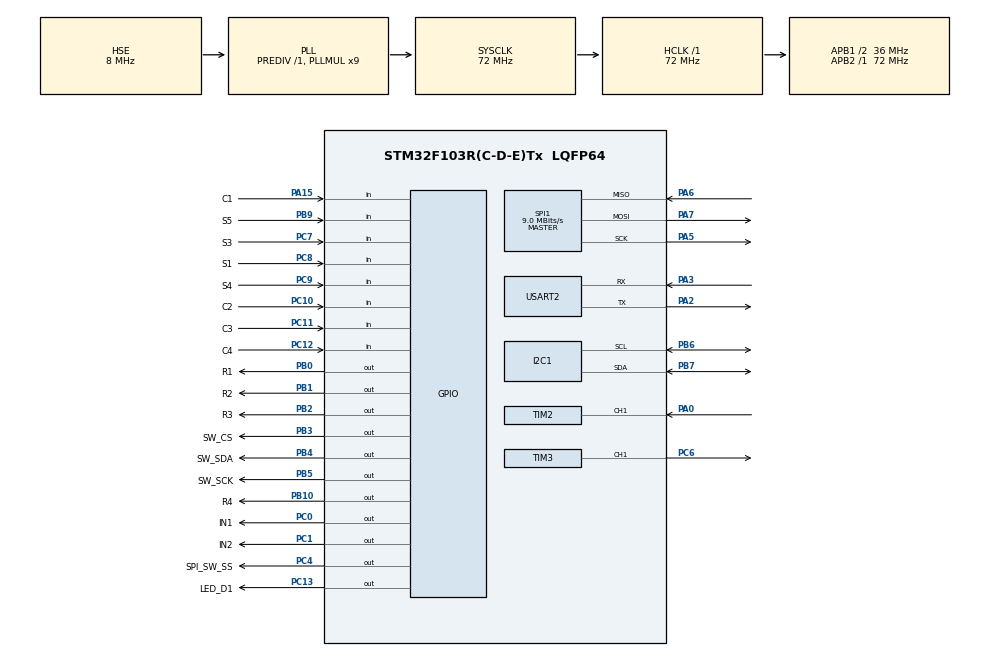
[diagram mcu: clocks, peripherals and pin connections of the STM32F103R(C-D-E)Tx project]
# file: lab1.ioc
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Mcu.Family=STM32F1
Mcu.Name=STM32F103R(C-D-E)Tx
Mcu.Package=LQFP64
NVIC.PriorityGroup=NVIC_PRIORITYGROUP_4
NVIC.TIM2_IRQn=true\:1\:0\:true\:false\:true\:true\:true\:true
NVIC.TIM3_IRQn=true\:0\:0\:false\:false\:true\:true\:true\:true
NVIC.TIM4_IRQn=true\:0\:0\:false\:false\:true\:true\:true\:true
NVIC.TIM5_IRQn=true\:0\:0\:false\:false\:true\:true\:true\:true
NVIC.USART2_IRQn=true\:2\:0\:true\:false\:true\:true\:true\:true
PA0-WKUP.Signal=S_TIM2_CH1_ETR
PA13.Mode=Serial_Wire
PA13.Signal=SYS_JTMS-SWDIO
PA14.Mode=Serial_Wire
PA14.Signal=SYS_JTCK-SWCLK
PA15.GPIO_Label=C1
PA15.Signal=GPIO_Input
PA2.Mode=Asynchronous
PA2.Signal=USART2_TX
PA3.Mode=Asynchronous
PA3.Signal=USART2_RX
PA5.Mode=Full_Duplex_Master
PA5.Signal=SPI1_SCK
PA6.Mode=Full_Duplex_Master
PA6.Signal=SPI1_MISO
PA7.Mode=Full_Duplex_Master
PA7.Signal=SPI1_MOSI
PB0.GPIO_Label=R1
PB0.Signal=GPIO_Output
PB1.GPIO_Label=R2
PB1.Signal=GPIO_Output
PB10.GPIO_Label=R4
PB10.Signal=GPIO_Output
PB2.GPIO_Label=R3
PB2.Signal=GPIO_Output
PB3.GPIO_Label=SW_CS
PB3.Signal=GPIO_Output
PB4.GPIO_Label=SW_SDA
PB4.Signal=GPIO_Output
PB5.GPIO_Label=SW_SCK
PB5.Signal=GPIO_Output
PB6.Mode=I2C
PB6.Signal=I2C1_SCL
PB7.Mode=I2C
PB7.Signal=I2C1_SDA
PB9.GPIO_Label=S5
PB9.Signal=GPIO_Input
PC0.GPIO_Label=IN1
PC0.Signal=GPIO_Output
PC1.GPIO_Label=IN2
PC1.Signal=GPIO_Output
PC10.GPIO_Label=C2
PC10.Signal=GPIO_Input
PC11.GPIO_Label=C3
PC11.Signal=GPIO_Input
PC12.GPIO_Label=C4
PC12.Signal=GPIO_Input
PC13-TAMPER-RTC.GPIO_Label=LED_D1
PC13-TAMPER-RTC.Signal=GPIO_Output
PC4.GPIO_Label=SPI_SW_SS
PC4.Signal=GPIO_Output
PC6.Signal=S_TIM3_CH1
PC7.GPIO_Label=S3
PC7.Signal=GPIO_Input
PC8.GPIO_Label=S1
PC8.Signal=GPIO_Input
PC9.GPIO_Label=S4
PC9.Signal=GPIO_Input
PD0-OSC_IN.Mode=HSE-External-Oscillator
PD0-OSC_IN.Signal=RCC_OSC_IN
PD1-OSC_OUT.Mode=HSE-External-Oscillator
PD1-OSC_OUT.Signal=RCC_OSC_OUT
ProjectManager.HeapSize=0x200
ProjectManager.StackSize=0x400
ProjectManager.TargetToolchain=MDK-ARM V5.32
RCC.ADCPresc=RCC_ADCPCLK2_DIV6
RCC.AHBFreq_Value=72000000
RCC.APB1CLKDivider=RCC_HCLK_DIV2
RCC.APB1Freq_Value=36000000
RCC.APB1TimFreq_Value=72000000
RCC.APB2Freq_Value=72000000
RCC.APB2TimFreq_Value=72000000
RCC.HCLKFreq_Value=72000000
RCC.PLLMUL=RCC_PLL_MUL9
RCC.PLLSourceVirtual=RCC_PLLSOURCE_HSE
RCC.SYSCLKFreq_VALUE=72000000
RCC.SYSCLKSource=RCC_SYSCLKSOURCE_PLLCLK
RCC.USBFreq_Value=72000000
SH.S_TIM2_CH1_ETR.0=TIM2_CH1,Input_Capture1_from_TI1
SH.S_TIM3_CH1.0=TIM3_CH1,PWM Generation1 CH1
SPI1.BaudRatePrescaler=SPI_BAUDRATEPRESCALER_8
SPI1.CalculateBaudRate=9.0 MBits/s
SPI1.Direction=SPI_DIRECTION_2LINES
SPI1.Mode=SPI_MODE_MASTER
SPI1.VirtualType=VM_MASTER
TIM2.Channel-Input_Capture1_from_TI1=TIM_CHANNEL_1
TIM2.Period=65535
TIM2.Prescaler=71
TIM3.Channel-PWM\ Generation1\ CH1=TIM_CHANNEL_1
TIM3.Period=999
TIM3.Prescaler=71
TIM4.Period=100
TIM4.Prescaler=7200
TIM5.Period=720
TIM5.Prescaler=10000
USART2.VirtualMode=VM_ASYNC
VP_TIM2_VS_ClockSourceINT.Mode=Internal
VP_TIM3_VS_ClockSourceINT.Mode=Internal
VP_TIM4_VS_ClockSourceINT.Mode=Internal
VP_TIM5_VS_ClockSourceINT.Mode=Internal
board=custom

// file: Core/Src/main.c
/* USER CODE BEGIN Header */
/**
 ******************************************************************************
 * @file           : main.c
 * @brief          : Main program body
 ******************************************************************************
 * @attention
 *
 * Copyright (c) 2025 STMicroelectronics.
 * All rights reserved.
 *
 * This software is licensed under terms that can be found in the LICENSE file
 * in the root directory of this software component.
 * If no LICENSE file comes with this software, it is provided AS-IS.
 *
 ******************************************************************************
 */
/* USER CODE END Header */
#include "main.h"
#include "i2c.h"
#include "spi.h"
#include "tim.h"
#include "usart.h"
#include "gpio.h"

/* USER CODE BEGIN Includes */
#include "LED.h"
#include "sw_lcd.h"
#include "spi_lcd.h"
#include "i2c_oled.h"
#include "595driver.h"
#include "key.h"
#include "sw_keyboard.h"
#include "timer.h"
#include "tm1650.h"
#include <string.h>
#include <stdio.h>
#include <stdlib.h>
/* USER CODE END Includes */

/* USER CODE BEGIN PD */
#define lab4
/* USER CODE END PD */

/* USER CODE BEGIN PV */
int key_current;
int key_history;
int s4_status = 0;
int s5_status = 0;
int clear_bits[5] = {0, 0, 0, 0, 0};
int lcd_flag = 0;
uint16_t ADC_value = 0;
float ADC_Value_float = 0;
char *name_key = "YangHaoTian Key3 pressed\n"; // 27
char *number_key = "20221689 Key6 pressed\n";  // 23
char ADC_str[64] = "hello world\n";            // 64;
uint8_t uartRxBuffer[10];
uint8_t uartTxBuffer[128];
uint8_t ledStatus = 0;      // LED状态：0-关闭，1-打开，2-闪烁
uint8_t flashFrequency = 1; // 闪烁频率，默认1Hz
uint16_t rxIndex = 0;       // 接收索引
uint8_t uartRxChar;         // 单字符接收缓冲区
int PWM_pulse = 100;        // PWM占空比，初始值10%
int Moter_direction = 0;    // 电机方向，0-正转，1-反转，2-停止

volatile uint32_t IC_Val1 = 0;                  // 保存第一次捕获值
volatile uint32_t IC_Val2 = 0;                  // 保存第二次捕获值
volatile uint32_t Difference = 0;               // 保存两次捕获的差值 (计数值)
volatile uint8_t Is_First_Captured = 0;         // 状态标志，0表示等待第一次捕获，1表示等待第二次捕获
volatile float Frequency = 0.0f;                // 计算得到的频率 (Hz)
volatile float RPM = 0.0f;                      // 计算得到的转速 (RPM)
const uint32_t Timer_ARR = 65535;               // TIM2的ARR值 (根据配置修改)
const float Timer_Clock_Frequency = 1000000.0f; // 定时器计数频率 (Hz), 根据PSC和时钟源计算得到
                                                // 例如 72MHz / (71+1) = 1MHz
const float Pulses_Per_Revolution = 10.0f;      // 每转脉冲数 (根据实际传感器修改)
int Set_RPM = 0;                                // 设置的转速 (RPM) 使用PID来维持在这个转速

// PID Controler Variables
float Kp = 2.0;  // 比例增益 (需要根据实际情况调整)
float Ki = 0.2f; // 积分增益 (需要根据实际情况调整)
float Kd = 0.1f; // 微分增益 (需要根据实际情况调整)

float pid_error = 0.0f;
float pid_previous_error = 0.0f;
float pid_integral = 0.0f;
float pid_derivative = 0.0f;
float pid_output = 0.0f;
float pid_prev_prev_error = 0.0f; // 上上次误差 e(k-2)  <--- 新增变量

// PID 输出限制 (例如PWM占空比范围, 假设htim3的ARR为999，则最大值为999)
// 您需要根据htim3的实际ARR值来设置PID_OUTPUT_MAX
const float PID_OUTPUT_MIN = 0.0f;
const float PID_OUTPUT_MAX = 999.0f; // 重要: 请根据htim3的ARR值修改
const float INTEGRAL_MIN = -500.0f;  // 积分项抗饱和下限 (需要调整)
const float INTEGRAL_MAX = 500.0f;   // 积分项抗饱和上限 (需要调整)

char rpm_input_buffer[5];     // 用于存储最多4位数字 + 空终止符
uint8_t rpm_digit_count = 0;  // 当前输入的RPM数字位数
uint8_t rpm_input_active = 0; // 0: 非RPM输入模式, 1: RPM输入模式

// extern int LED_status;
/* USER CODE END PV */

void SystemClock_Config(void);

/* USER CODE BEGIN 0 */
void Update_PID_Controller(void)
{
  // 1. 计算当前误差 e(k)
  // RPM 是由 HAL_TIM_IC_CaptureCallback 中断更新的当前电机转速
  pid_error = (float)Set_RPM - RPM; // pid_error 充当 e(k)

  // 2. 计算增量 delta_pid_output = Δu(k)
  // Δu(k) = Kp * [e(k) - e(k-1)] + Ki * e(k) + Kd * [e(k) - 2*e(k-1) + e(k-2)]
  float delta_pid_output = Kp * (pid_error - pid_previous_error) + \
                           Ki * pid_error + \
                           Kd * (pid_error - 2.0f * pid_previous_error + pid_prev_prev_error);

  // 3. 更新总输出 U(k) = U(k-1) + Δu(k)
  // pid_output 在这里代表 U(k-1)，然后更新为 U(k)
  pid_output += delta_pid_output;

  // 4. 限制PID总输出在有效范围内
  if (pid_output > PID_OUTPUT_MAX)
  {
    pid_output = PID_OUTPUT_MAX;
  }
  else if (pid_output < PID_OUTPUT_MIN)
  {
    pid_output = PID_OUTPUT_MIN;
  }

  // 5. 更新历史误差，为下一次计算做准备
  // e(k-2) = e(k-1)
  pid_prev_prev_error = pid_previous_error;
  // e(k-1) = e(k)
  pid_previous_error = pid_error;

  // 6. 将PID输出应用到电机PWM控制
  if (Set_RPM > 0) // 只有在目标转速大于0时才更新PWM
  {
    __HAL_TIM_SetCompare(&htim3, TIM_CHANNEL_1, (uint16_t)pid_output);
  }
  else // 如果目标转速为0，则停止电机 (PWM设为0)
  {
    __HAL_TIM_SetCompare(&htim3, TIM_CHANNEL_1, 0);
    pid_output = 0.0f; // 重置PID累积输出
    // 重置历史误差，防止下次启动时因旧的误差值导致delta_pid_output过大
    pid_previous_error = 0.0f;
    pid_prev_prev_error = 0.0f;
    // pid_error 此时也应接近0 (如果RPM也为0)
  }
}
/* USER CODE END 0 */

int main(void)
{

  /* USER CODE BEGIN 1 */
  LED_status = 1;
  /* USER CODE END 1 */

  /* MCU Configuration--------------------------------------------------------*/

  /* Reset of all peripherals, Initializes the Flash interface and the Systick. */
  HAL_Init();

  /* Configure the system clock */
  SystemClock_Config();

  /* Initialize all configured peripherals */
  MX_GPIO_Init();
  MX_SPI1_Init();
  MX_TIM2_Init();
  MX_TIM5_Init();
  MX_TIM3_Init();
  MX_I2C1_Init();
  MX_USART2_UART_Init();
  MX_TIM4_Init();
  /* USER CODE BEGIN 2 */
  HAL_TIM_Base_Start_IT(&htim4);                                    // 开启定时器中断
  HAL_TIM_Base_Start_IT(&htim3);                                    // 开启定时器中断
  HAL_TIM_Base_Start_IT(&htim2);                                    // 开启定时器中断
  HAL_TIM_IC_Start_IT(&htim2, TIM_CHANNEL_1);                       // 开启输入捕获中断
  HAL_TIM_PWM_Start(&htim3, TIM_CHANNEL_1);                         // 开启PWM输出
  HAL_UART_Receive_IT(&huart2, uartRxBuffer, sizeof(uartRxBuffer)); // 开启串口接收中断
  LCE_init();
  HAL_GPIO_WritePin(GPIOC, GPIO_PIN_13, 0); // led
  OLED_Init();
  OLED_CLS();
  rpm_input_buffer[0] = '\0'; // 初始化RPM输入缓冲区
  // OLED_LAB_DISP_name();   //display name & number
  /* USER CODE END 2 */

  /* Infinite loop */
  /* USER CODE BEGIN WHILE */
  while (1)
  {
    if (scan_KeyBoard())
    {
      if (rpm_input_active)
      {
        // 当前处于RPM输入模式
        if (curr_key >= '0' && curr_key <= '9' && rpm_digit_count < 4)
        {
          rpm_input_buffer[rpm_digit_count++] = curr_key;
          rpm_input_buffer[rpm_digit_count] = '\0'; // 保持字符串以空终止
          // 可选: 在OLED上显示当前输入的数字
          // OLED_ShowString(0, 30, (uint8_t*)"RPM:       "); // 清除旧内容
        }
        else if (curr_key == 'E') // 假设 'E' (物理按键15) 是确认键
        {
          if (rpm_digit_count > 0) // 确保至少输入了一位数字
          {
            Set_RPM = atoi(rpm_input_buffer);
            if(Set_RPM < 1000)
            {
              Set_RPM = 2000;
            }
            // 可选: 串口或OLED提示设置成功
            sprintf((char *)uartTxBuffer, "Keyboard Set_RPM: %d\r\n", Set_RPM);
            HAL_UART_Transmit(&huart2, uartTxBuffer, strlen((char *)uartTxBuffer), 100);
            // OLED_ShowString(0, 40, (uint8_t*)"RPM Set!    ");
          }
          rpm_input_active = 0; // 退出RPM输入模式
          rpm_digit_count = 0;
          rpm_input_buffer[0] = '\0'; // 清空缓冲区
          // OLED_ShowString(0, 30, (uint8_t*)"            "); // 清除RPM输入提示
        }
        else if (curr_key == 'F') // 假设 'F' (物理按键16) 是取消键
        {
          rpm_input_active = 0; // 退出RPM输入模式
          rpm_digit_count = 0;
          rpm_input_buffer[0] = '\0'; // 清空缓冲区
          // 可选: 串口或OLED提示取消
          // OLED_ShowString(0, 30, (uint8_t*)"Cancelled   ");
          // OLED_ShowString(0, 40, (uint8_t*)"            ");
        }
        // 在RPM输入模式下，可以忽略其他按键，或添加特定处理
      }
      else
      {
        if (curr_key == '0')
        {
          // 正转
          Change_motor_direction(0);
          Moter_direction = 0;
        }
        if (curr_key == '4')
        {
          // 反转
          Change_motor_direction(1);
          Moter_direction = 1;
        }
        if (curr_key == '8')
        {
          // 停止
          Change_motor_direction(2);
          Moter_direction = 2;
        }
        if (curr_key == '5')
        {
          // 加速
          Moteor_Speed_change(1);
        }
        if (curr_key == '9')
        {
          // 加速
          Moteor_Speed_change(1);
        }
        if (curr_key == '6')
        {
          // 减速
          Moteor_Speed_change(2);
        }
        if (curr_key == 'A')
        {
          // 减速
          Moteor_Speed_change(2);
        }
        if (curr_key == 'F')
        {
          rpm_input_active = 1; // 进入RPM输入模式
          rpm_digit_count = 0;  // 重置数字计数
        }
      }
    }
    //    LCD_Display_Lab(); //LCD display ADC value
    OLED_LAB_DISP_name(); /*要求四*/
    /* USER CODE END WHILE */

  }
}

void SystemClock_Config(void)
{
  RCC_OscInitTypeDef RCC_OscInitStruct = {0};
  RCC_ClkInitTypeDef RCC_ClkInitStruct = {0};

  /** Initializes the RCC Oscillators according to the specified parameters
   * in the RCC_OscInitTypeDef structure.
   */
  RCC_OscInitStruct.OscillatorType = RCC_OSCILLATORTYPE_HSE;
  RCC_OscInitStruct.HSEState = RCC_HSE_ON;
  RCC_OscInitStruct.HSEPredivValue = RCC_HSE_PREDIV_DIV1;
  RCC_OscInitStruct.HSIState = RCC_HSI_ON;
  RCC_OscInitStruct.PLL.PLLState = RCC_PLL_ON;
  RCC_OscInitStruct.PLL.PLLSource = RCC_PLLSOURCE_HSE;
  RCC_OscInitStruct.PLL.PLLMUL = RCC_PLL_MUL9;
  if (HAL_RCC_OscConfig(&RCC_OscInitStruct) != HAL_OK)
  {
    Error_Handler();
  }

  /** Initializes the CPU, AHB and APB buses clocks
   */
  RCC_ClkInitStruct.ClockType = RCC_CLOCKTYPE_HCLK | RCC_CLOCKTYPE_SYSCLK | RCC_CLOCKTYPE_PCLK1 | RCC_CLOCKTYPE_PCLK2;
  RCC_ClkInitStruct.SYSCLKSource = RCC_SYSCLKSOURCE_PLLCLK;
  RCC_ClkInitStruct.AHBCLKDivider = RCC_SYSCLK_DIV1;
  RCC_ClkInitStruct.APB1CLKDivider = RCC_HCLK_DIV2;
  RCC_ClkInitStruct.APB2CLKDivider = RCC_HCLK_DIV1;

  if (HAL_RCC_ClockConfig(&RCC_ClkInitStruct, FLASH_LATENCY_2) != HAL_OK)
  {
    Error_Handler();
  }
}

/* USER CODE BEGIN 4 */
void HAL_TIM_PeriodElapsedCallback(TIM_HandleTypeDef *htim)
{
  if (htim == &htim2)
  {
    HAL_GPIO_TogglePin(GPIOC, GPIO_PIN_13); // LED闪烁
    // HAL_UART_Transmit(&huart2, (uint8_t *)ADC_str, sizeof(ADC_str), 1000); //发送AD值
  }
  if (htim == &htim3)
  {
  }
  if (htim == &htim4)
  {
    // PID控制
    Update_PID_Controller();
  }
}
void HAL_UART_RxCpltCallback(UART_HandleTypeDef *huart)
{
  if (huart->Instance == USART2) // 判断接收的串口是否为USART2
  {
    // 处理接收到的数据
    if (strstr((char *)uartRxBuffer, "forwardMot"))
    {
      Change_motor_direction(0);

      // 回复确认信息
      sprintf((char *)uartTxBuffer, "Forward Motor\r\n");
      HAL_UART_Transmit(&huart2, uartTxBuffer, strlen((char *)uartTxBuffer), 100);
    }
    else if (strstr((char *)uartRxBuffer, "backwardmt"))
    {
      Change_motor_direction(1);
      // 回复确认信息
      sprintf((char *)uartTxBuffer, "Reverse motor\r\n");
      HAL_UART_Transmit(&huart2, uartTxBuffer, strlen((char *)uartTxBuffer), 100);
    }
    else if (strstr((char *)uartRxBuffer, "sstopmotor"))
    {
      Change_motor_direction(2);
      sprintf((char *)uartTxBuffer, "stop motor\r\n");
      HAL_UART_Transmit(&huart2, uartTxBuffer, strlen((char *)uartTxBuffer), 100);
    }
    else if (strstr((char *)uartRxBuffer, "speedupmtr"))
    {
      Moteor_Speed_change(1);
      sprintf((char *)uartTxBuffer, "speed up motor\r\n");
      HAL_UART_Transmit(&huart2, uartTxBuffer, strlen((char *)uartTxBuffer), 100);
    }
    else if (strstr((char *)uartRxBuffer, "speeddownm"))
    {
      Moteor_Speed_change(2);
      sprintf((char *)uartTxBuffer, "speed down motor\r\n");
      HAL_UART_Transmit(&huart2, uartTxBuffer, strlen((char *)uartTxBuffer), 100);
    }
    else if (strstr((char *)uartRxBuffer, "speedat"))
    {
      // 解析闪烁频率
      char *freqStr = strstr((char *)uartRxBuffer, "speedat") + 7; // 定位到"speedat"后面
      int freq = 0;

      // 使用sscanf函数解析数字
      if (sscanf(freqStr, "%d", &freq) == 1)
      {
        // 检查是否在有效范围内（例如1-999）
        if (freq >= 1 && freq <= 999)
        {
          // 应用设置
          flashFrequency = freq;
          __HAL_TIM_SetCompare(&htim3, TIM_CHANNEL_1, freq);
          // 回复确认信息
          sprintf((char *)uartTxBuffer, "NEW PWM%dHz频率闪烁\r\n", flashFrequency);
          HAL_UART_Transmit(&huart2, uartTxBuffer, strlen((char *)uartTxBuffer), 100);
        }
        else
        {
          // 无效频率范围
          sprintf((char *)uartTxBuffer, "无效闪烁频率，请输入1-999之间的值\r\n");
          HAL_UART_Transmit(&huart2, uartTxBuffer, strlen((char *)uartTxBuffer), 100);
        }
      }
      else
      {
        // 格式错误
        sprintf((char *)uartTxBuffer, "格式错误，请输入speedat后跟数字\r\n");
        HAL_UART_Transmit(&huart2, uartTxBuffer, strlen((char *)uartTxBuffer), 100);
      }
    }
    else if (strstr((char *)uartRxBuffer, "speed:"))
    {
      // PID转速设置
      char *speedStr = strstr((char *)uartRxBuffer, "speed:") + 6; // 定位到"speed:"后面
      int speed = 0;
      // 使用sscanf函数解析数字
      if (sscanf(speedStr, "%d", &speed) == 1)
      {
        // 检查是否在有效范围内（例如1-999）
        if (speed >= 1000 && speed <= 9999)
        {
          // 应用设置
          Set_RPM = speed;
          // 回复确认信息
          sprintf((char *)uartTxBuffer, "设置目标转速为: %d RPM\r\n", Set_RPM);
          HAL_UART_Transmit(&huart2, uartTxBuffer, strlen((char *)uartTxBuffer), 100);
        }
        else
        {
          // 无效转速范围
          sprintf((char *)uartTxBuffer, "无效转速，请输入1000-9999之间的值\r\n");
          HAL_UART_Transmit(&huart2, uartTxBuffer, strlen((char *)uartTxBuffer), 100);
        }
      }
      else
      {
        // 格式错误
        sprintf((char *)uartTxBuffer, "格式错误，请输入speed:后跟数字\r\n");
        HAL_UART_Transmit(&huart2, uartTxBuffer, strlen((char *)uartTxBuffer), 100);
      }
    }
    else
    {
      // 回传收到的信息
      sprintf((char *)uartTxBuffer, "收到: %s\r\n", uartRxBuffer);
      HAL_UART_Transmit(&huart2, uartTxBuffer, strlen((char *)uartTxBuffer), 100);
    }
    // 清空接收缓冲区并继续接收
    memset(uartRxBuffer, 0, sizeof(uartRxBuffer));
    HAL_UART_Receive_IT(&huart2, uartRxBuffer, sizeof(uartRxBuffer));
  }
  else
  {
    HAL_UART_Transmit(&huart2, (uint8_t *)"Error: Unknown UART instance\n", 30, 1000); // 错误处理
  }
  // memset(uartRxBuffer, 0, sizeof(uartRxBuffer));
}
void HAL_TIM_IC_CaptureCallback(TIM_HandleTypeDef *htim)
{
  // 确保是TIM2的中断源且是通道1触发的 (虽然回调函数是特定的，但检查htim->Instance是好习惯)
  if (htim->Instance == TIM2 && htim->Channel == HAL_TIM_ACTIVE_CHANNEL_1)
  {
    if (Is_First_Captured == 0) // 等待第一次捕获
    {
      // 读取第一次捕获值
      IC_Val1 = HAL_TIM_ReadCapturedValue(htim, TIM_CHANNEL_1); // 读取CCR1寄存器值
      Is_First_Captured = 1;                                    // 标记已捕获第一次
    }
    else // 已捕获第一次，现在是第二次捕获
    {
      // 读取第二次捕获值
      IC_Val2 = HAL_TIM_ReadCapturedValue(htim, TIM_CHANNEL_1);

      // 计算差值，处理定时器溢出
      if (IC_Val2 >= IC_Val1)
      {
        Difference = IC_Val2 - IC_Val1;
      }
      else // 定时器溢出
      {
        // ARR是自动重载值 (例如 65535)
        // 定时器周期是 ARR+1 个计数
        Difference = (Timer_ARR - IC_Val1) + IC_Val2 + 1;
        // 或者写成 Difference = ((htim->Instance->ARR) - IC_Val1) + IC_Val2 + 1;
      }

      // 计算频率 (Hz)
      if (Difference != 0) // 避免除以零
      {
        // 注意: Timer_Clock_Frequency 需要根据你的实际配置计算
        // Timer_Clock_Frequency = HAL_RCC_GetPCLK1Freq() / (htim->Init.Prescaler + 1);
        // **重要**: 如果APB1预分频器不是1分频 (RCC_ClkInitStruct.APB1CLKDivider)，
        // APB1上的定时器时钟通常是PCLK1的2倍 (除非PCLK1等于AHB时钟)。
        // 请务必通过CubeMX的时钟配置界面或参考手册确认TIM2的精确时钟源频率。
        // 假设 Timer_Clock_Frequency 已正确计算并定义为常量或变量

        Frequency = Timer_Clock_Frequency / (float)Difference;

        // 计算RPM
        RPM = (Frequency / Pulses_Per_Revolution) * 60.0f;
      }
      else
      {
        // 差值为0，可能速度过快或错误，置零处理
        Frequency = 0.0f;
        RPM = 0.0f;
      }

      // 将当前的捕获值作为下一次计算的第一个值，准备下一次测量
      IC_Val1 = IC_Val2;
      // Is_First_Captured 保持为 1，持续测量
    }
  }
}

/* USER CODE END 4 */

void Error_Handler(void)
{
  __disable_irq();
  while (1)
  {
  }
}
